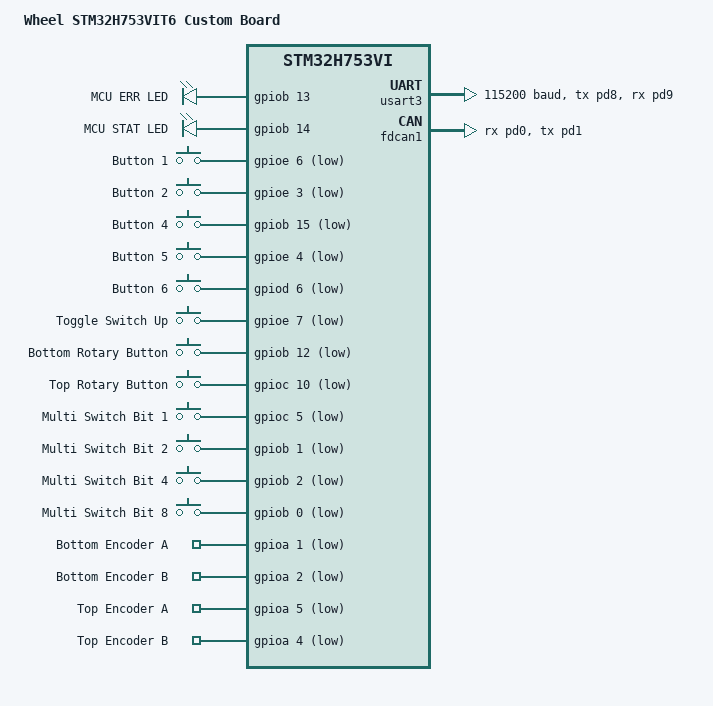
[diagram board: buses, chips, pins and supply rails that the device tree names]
/*
 * Copyright (c) 2026 Wheel Team
 * SPDX-License-Identifier: Apache-2.0
 */

/dts-v1/;
#include <st/h7/stm32h753Xi.dtsi>
#include <st/h7/stm32h753vitx-pinctrl.dtsi>
#include <zephyr/dt-bindings/gpio/gpio-keys.h>
#include <zephyr/dt-bindings/input/input-event-codes.h>

/ {
    model = "Wheel STM32H753VIT6 Custom Board";
    compatible = "st,stm32h753vi";

    chosen {
        zephyr,console = &usart3;
        zephyr,shell-uart = &usart3;
        zephyr,sram = &sram0;
        zephyr,flash = &flash0;
        zephyr,dtcm = &dtcm;
        zephyr,canbus = &fdcan1;
    };

    leds {
        compatible = "gpio-leds";
        mcu_err_led: led_0 {
            gpios = <&gpiob 13 GPIO_ACTIVE_HIGH>;
            label = "MCU ERR LED";
        };
        mcu_stat_led: led_1 {
            gpios = <&gpiob 14 GPIO_ACTIVE_HIGH>;
            label = "MCU STAT LED";
        };
    };

    gpio_keys {
        compatible = "gpio-keys";
        
        /* 5 Pushbuttons & Toggle */
        btn_1: btn_1 {
            label = "Button 1";
            gpios = <&gpioe 6 (GPIO_ACTIVE_LOW | GPIO_PULL_UP)>;
        };
        btn_2: btn_2 {
            label = "Button 2";
            gpios = <&gpioe 3 (GPIO_ACTIVE_LOW | GPIO_PULL_UP)>;
        };
        btn_4: btn_4 {
            label = "Button 4";
            gpios = <&gpiob 15 (GPIO_ACTIVE_LOW | GPIO_PULL_UP)>;
        };
        btn_5: btn_5 {
            label = "Button 5";
            gpios = <&gpioe 4 (GPIO_ACTIVE_LOW | GPIO_PULL_UP)>;
        };
        btn_6: btn_6 {
            label = "Button 6";
            gpios = <&gpiod 6 (GPIO_ACTIVE_LOW | GPIO_PULL_UP)>;
        };
        toggle_up: toggle_up {
            label = "Toggle Switch Up";
            gpios = <&gpioe 7 (GPIO_ACTIVE_LOW | GPIO_PULL_UP)>;
        };

        /* Rotary Encoder Pushbuttons */
        bottom_rotary_btn: bottom_rotary_btn {
            /* U8 - mounted on the bottom */
            label = "Bottom Rotary Button";
            gpios = <&gpiob 12 (GPIO_ACTIVE_LOW | GPIO_PULL_UP)>;
        };
        top_rotary_btn: top_rotary_btn {
            /* U9 - mounted on the top */
            label = "Top Rotary Button";
            gpios = <&gpioc 10 (GPIO_ACTIVE_LOW | GPIO_PULL_UP)>;
        };

        /* Multiposition Switch Bits for BCD */
        bit1: bit1 {
            label = "Multi Switch Bit 1";
            gpios = <&gpioc 5 (GPIO_ACTIVE_LOW | GPIO_PULL_UP)>;
        };
        bit2: bit2 {
            label = "Multi Switch Bit 2";
            gpios = <&gpiob 1 (GPIO_ACTIVE_LOW | GPIO_PULL_UP)>;
        };
        bit4: bit4 {
            label = "Multi Switch Bit 4";
            gpios = <&gpiob 2 (GPIO_ACTIVE_LOW | GPIO_PULL_UP)>;
        };
        bit8: bit8 {
            label = "Multi Switch Bit 8";
            gpios = <&gpiob 0 (GPIO_ACTIVE_LOW | GPIO_PULL_UP)>;
        };

        /* Rotary Encoder A/B Channels (Mapped as simple GPIOs for now) */
        bottom_enc_a: bottom_enc_a {
            /* U8 - Bottom Rotary Channel A (LeftChannel net) */
            label = "Bottom Encoder A";
            gpios = <&gpioa 1 (GPIO_ACTIVE_LOW | GPIO_PULL_UP)>;
        };
        bottom_enc_b: bottom_enc_b {
            /* U8 - Bottom Rotary Channel B (RightChannel net) */
            label = "Bottom Encoder B";
            gpios = <&gpioa 2 (GPIO_ACTIVE_LOW | GPIO_PULL_UP)>;
        };
        top_enc_a: top_enc_a {
            /* U9 - Top Rotary Channel A (LeftChannel_2 net) */
            label = "Top Encoder A";
            gpios = <&gpioa 5 (GPIO_ACTIVE_LOW | GPIO_PULL_UP)>;
        };
        top_enc_b: top_enc_b {
            /* U9 - Top Rotary Channel B (RightChannel_2 net) */
            label = "Top Encoder B";
            gpios = <&gpioa 4 (GPIO_ACTIVE_LOW | GPIO_PULL_UP)>;
        };
    };

    aliases {
        led0 = &mcu_err_led;
        led1 = &mcu_stat_led;
        sw0 = &btn_1;
    };
};

&clk_hsi {
    status = "okay";
};

&pll {
    div-m = <16>;     
    mul-n = <240>;    
    div-p = <2>;      
    div-q = <2>;      
    div-r = <2>;      
    clocks = <&clk_hsi>;  
    status = "okay";
};

&pll2 {
    div-m = <32>;     
    mul-n = <120>;    
    div-p = <2>;      
    div-q = <3>;      
    div-r = <2>;      
    clocks = <&clk_hsi>;  
    status = "okay";
};

&rcc {
    clocks = <&pll>;
    clock-frequency = <DT_FREQ_M(480)>;
    d1cpre = <1>;
    hpre = <2>;
    d1ppre = <2>;
    d2ppre1 = <2>;
    d2ppre2 = <2>;
    d3ppre = <2>;
};

/* Enable GPIO */
&gpioa { status = "okay"; };
&gpiob { status = "okay"; };
&gpioc { status = "okay"; };
&gpiod { status = "okay"; };
&gpioe { status = "okay"; };

&usart3 {
    pinctrl-0 = <&usart3_tx_pd8 &usart3_rx_pd9>;
    pinctrl-names = "default";
    current-speed = <115200>;
    status = "okay";
};

/* Updated to map the TCAN1042 transceiver */
&fdcan1 {
    clocks = <&rcc STM32_CLOCK_BUS_APB1_2 0x00000100>,
             <&rcc STM32_SRC_PLL2_Q FDCAN_SEL(2)>;
    pinctrl-0 = <&fdcan1_rx_pd0 &fdcan1_tx_pd1>;
    pinctrl-names = "default";
    status = "okay";
};

&flash0 {
    partitions {
        compatible = "fixed-partitions";
        #address-cells = <1>;
        #size-cells = <1>;

        boot_partition: partition@0 {
            label = "mcuboot";
            reg = <0x00000000 DT_SIZE_K(128)>;
        };
        slot0_partition: partition@20000 {
            label = "image-0";
            reg = <0x00020000 DT_SIZE_K(448)>;
        };
        slot1_partition: partition@90000 {
            label = "image-1";
            reg = <0x00090000 DT_SIZE_K(448)>;
        };
        storage_partition: partition@100000 {
            label = "storage";
            reg = <0x00100000 DT_SIZE_K(1024)>;
        };
    };
};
